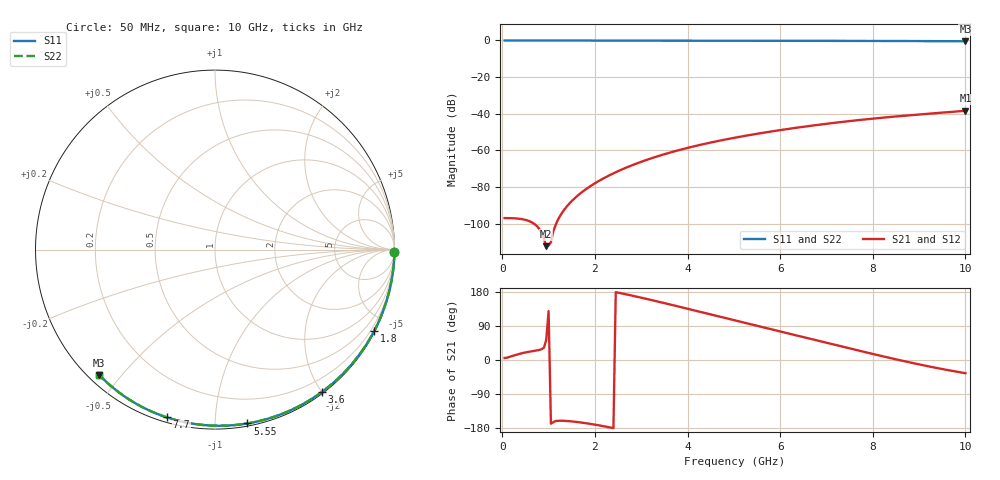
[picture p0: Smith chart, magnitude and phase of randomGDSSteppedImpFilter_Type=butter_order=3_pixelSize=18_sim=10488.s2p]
! freq	dB(S11)	phase(S11)	dB(S12)	phase(S12)
!  dB(S21)	phase(S21)	dB(S22)	phase(S22)
!S-par simulation data
#  GHz  S  DB  R 50
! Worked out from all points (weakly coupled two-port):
!   200 points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, 50 MHz to 10 GHz, reference 50 ohm
!   highest |S21| = -38.37 dB at 10 GHz (marker M1); lowest = -112.2 dB at 950 MHz (marker M2)
!   lowest |S11| = -0.4 dB at 10 GHz (marker M3), VSWR 39.79, Z = 1.5 - j21.9 ohm
!   |S11| at or under -10 dB: nowhere
!   |S22| runs from -0.4 to 0.0 dB; largest |S21 - S12| = 0
!   S11 on the Smith chart (normalised r, x): 50 MHz: open; 1.8 GHz: 0.04, -4.13; 3.6 GHz: 0.02, -2.00; 5.55 GHz: 0.02, -1.20; 7.7 GHz: 0.02, -0.75; 10 GHz: 0.03, -0.44
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0.05  -0.00 -0.8  -96.92 5.2  -96.92 5.2  -0.00 -0.8
0.5  -0.01 -7.7  -97.91 20.0  -97.91 20.0  -0.01 -7.7
0.95  -0.02 -14.5  -112.24 54.1  -112.24 54.1  -0.02 -14.5
1.75  -0.03 -26.5  -82.19 -165.8  -82.19 -165.8  -0.03 -26.5
1.8  -0.03 -27.2  -81.26 -166.7  -81.26 -166.7  -0.03 -27.2
1.85  -0.04 -28.0  -80.38 -167.6  -80.38 -167.6  -0.04 -28.0
1.9  -0.04 -28.7  -79.53 -168.6  -79.53 -168.6  -0.04 -28.7
2.05  -0.04 -30.9  -77.17 -171.7  -77.17 -171.7  -0.04 -30.9
2.25  -0.04 -33.9  -74.38 -176.1  -74.38 -176.1  -0.04 -33.9
2.65  -0.05 -39.7  -69.65 173.9  -69.65 173.9  -0.05 -39.7
3  -0.06 -44.7  -66.21 164.5  -66.21 164.5  -0.06 -44.7
3.4  -0.07 -50.4  -62.83 153.1  -62.83 153.1  -0.07 -50.4
3.6  -0.07 -53.2  -61.33 147.2  -61.33 147.2  -0.07 -53.2
4.3  -0.09 -62.9  -56.81 126.3  -56.81 126.3  -0.09 -62.9
5.05  -0.11 -72.9  -52.92 103.7  -52.92 103.7  -0.11 -72.9
5.55  -0.13 -79.5  -50.71 88.7  -50.71 88.7  -0.13 -79.5
6.1  -0.15 -86.5  -48.54 72.3  -48.54 72.3  -0.15 -86.5
6.7  -0.18 -94.0  -46.43 54.4  -46.43 54.4  -0.18 -94.0
7.7  -0.24 -106.1  -43.44 24.7  -43.44 24.7  -0.24 -106.1
8.35  -0.29 -113.7  -41.82 6.0  -41.82 6.0  -0.29 -113.7
9.15  -0.36 -123.0  -40.09 -15.4  -40.09 -15.4  -0.36 -123.0
10  -0.44 -132.7  -38.37 -34.8  -38.37 -34.8  -0.44 -132.7
